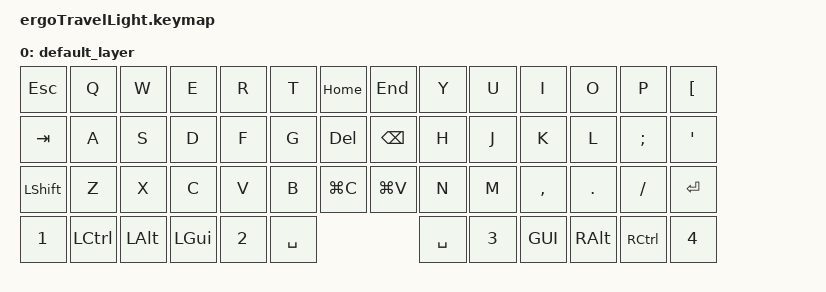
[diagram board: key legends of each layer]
#include <behaviors.dtsi>
#include <dt-bindings/zmk/keys.h>

// Layer aliases.
#define DEFAULT 0
#define FIRST 1
#define SECOND 2
#define THIRD 3
#define FOURTH 4

/ {
    keymap {
        compatible = "zmk,keymap";

        default_layer {
            // --------------------------------------------------------------------------------------------------------------------------------------------------------------------
            // |   ESC   |    Q    |    W    |    E    |    R    |    T    |    ?                                ?    |    Z    |    U    |    I    |    O    |    P    |    Ü    |
            // |   TAB   |    A    |    S    |    D    |    F    |    G    |    ?                                ?    |    H    |    J    |    K    |    L    |    Ö    |    Ä    |
            // |  SHIFT  |    Z    |    X    |    C    |    V    |    B    | CTRL+A  | CTRL+C  |  |  CTRL+V |  CTRL+X |    N    |    M    |    ,    |    .    |    /    |  RETURN |
            // |    L0   | CONTROL | OPTION  | COMMAND |                    |   GUI   |   DEL   | RETURN  |  SPACE  | ESCAPE  |  |  RETURN |  SPACE  |   TAB   |   BSPC  |  R ALT  |
            bindings = <
                &kp ESC     &kp Q      &kp W      &kp E     &kp R       &kp T      &kp HOME         &kp END    &kp Y      &kp U      &kp I     &kp O      &kp P     &kp LBKT
                &kp TAB     &kp A      &kp S      &kp D     &kp F       &kp G      &kp DEL          &kp BSPC   &kp H      &kp J      &kp K     &kp L      &kp SEMI  &kp SQT
                &kp LSHIFT  &kp Z      &kp X      &kp C     &kp V       &kp B       &kp LG(C)     &kp LG(V)     &kp N      &kp M      &kp COMMA &kp DOT    &kp FSLH  &kp ENTER
                &kp N1   &kp LCTRL  &kp LALT   &kp LGUI  &kp N2  &kp SPACE                              &kp SPACE     &kp N3         &kp GUI   &kp RALT   &kp RCTRL &kp N4
            >;

            // sensor-bindings = <&inc_dec_kp C_VOL_UP C_VOL_DN &inc_dec_kp PG_UP PG_DN>;
        };
        /*
        FIRST {

        };

        SECOND {

        };

        THIRD {

        };

        FOURTH {

        };*/
    };
};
